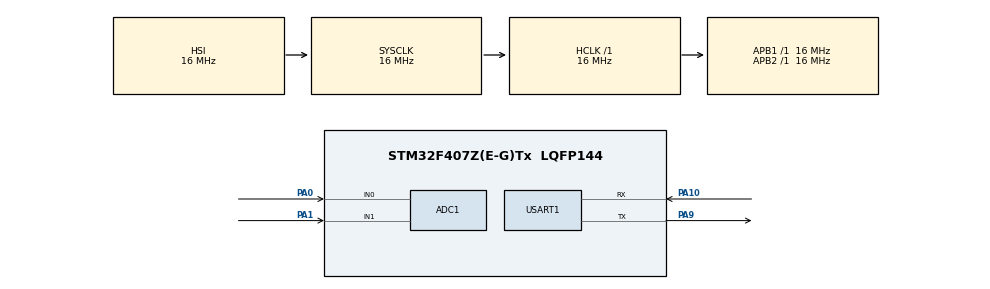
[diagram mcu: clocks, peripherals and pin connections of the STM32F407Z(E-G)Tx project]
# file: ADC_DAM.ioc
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ADC1.Channel-0\#ChannelRegularConversion=ADC_CHANNEL_0
ADC1.Channel-3\#ChannelRegularConversion=ADC_CHANNEL_1
ADC1.ContinuousConvMode=ENABLE
ADC1.DMAContinuousRequests=ENABLE
ADC1.InjNumberOfConversion=0
ADC1.NbrOfConversion=2
ADC1.NbrOfConversionFlag=1
ADC1.Rank-0\#ChannelRegularConversion=1
ADC1.Rank-3\#ChannelRegularConversion=2
ADC1.SamplingTime-0\#ChannelRegularConversion=ADC_SAMPLETIME_3CYCLES
ADC1.SamplingTime-3\#ChannelRegularConversion=ADC_SAMPLETIME_3CYCLES
ADC1.ScanConvMode=ENABLE
ADC1.master=1
Dma.ADC1.0.Direction=DMA_PERIPH_TO_MEMORY
Dma.ADC1.0.FIFOMode=DMA_FIFOMODE_DISABLE
Dma.ADC1.0.Instance=DMA2_Stream0
Dma.ADC1.0.MemDataAlignment=DMA_MDATAALIGN_WORD
Dma.ADC1.0.MemInc=DMA_MINC_ENABLE
Dma.ADC1.0.Mode=DMA_CIRCULAR
Dma.ADC1.0.PeriphDataAlignment=DMA_PDATAALIGN_WORD
Dma.ADC1.0.PeriphInc=DMA_PINC_DISABLE
Dma.ADC1.0.Priority=DMA_PRIORITY_LOW
Dma.Request0=ADC1
Mcu.Family=STM32F4
Mcu.Name=STM32F407Z(E-G)Tx
Mcu.Package=LQFP144
NVIC.DMA2_Stream0_IRQn=true\:0\:0\:false\:false\:true\:false\:true\:true
NVIC.PriorityGroup=NVIC_PRIORITYGROUP_4
PA0-WKUP.Signal=ADCx_IN0
PA1.Signal=ADCx_IN1
PA10.Mode=Asynchronous
PA10.Signal=USART1_RX
PA9.Mode=Asynchronous
PA9.Signal=USART1_TX
PC14-OSC32_IN.Mode=LSE-External-Oscillator
PC14-OSC32_IN.Signal=RCC_OSC32_IN
PC15-OSC32_OUT.Mode=LSE-External-Oscillator
PC15-OSC32_OUT.Signal=RCC_OSC32_OUT
PH0-OSC_IN.Mode=HSE-External-Oscillator
PH0-OSC_IN.Signal=RCC_OSC_IN
PH1-OSC_OUT.Mode=HSE-External-Oscillator
PH1-OSC_OUT.Signal=RCC_OSC_OUT
ProjectManager.HeapSize=0x200
ProjectManager.StackSize=0x400
ProjectManager.TargetToolchain=MDK-ARM V5.32
RCC.AHBFreq_Value=16000000
RCC.APB1Freq_Value=16000000
RCC.APB2Freq_Value=16000000
RCC.CortexFreq_Value=16000000
RCC.HSE_VALUE=25000000
RCC.HSI_VALUE=16000000
RCC.SYSCLKFreq_VALUE=16000000
RCC.VCOOutputFreq_Value=192000000
SH.ADCx_IN0.0=ADC1_IN0,IN0
SH.ADCx_IN1.0=ADC1_IN1,IN1
USART1.VirtualMode=VM_ASYNC
board=custom

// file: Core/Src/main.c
/* USER CODE BEGIN Header */
/**
  ******************************************************************************
  * @file           : main.c
  * @brief          : Main program body
  ******************************************************************************
  * @attention
  *
  * Copyright (c) 2024 STMicroelectronics.
  * All rights reserved.
  *
  * This software is licensed under terms that can be found in the LICENSE file
  * in the root directory of this software component.
  * If no LICENSE file comes with this software, it is provided AS-IS.
  *
  ******************************************************************************
  */
/* USER CODE END Header */
#include "main.h"
#include "adc.h"
#include "dma.h"
#include "usart.h"
#include "gpio.h"

/* USER CODE BEGIN Includes */
#include <stdio.h>
/* USER CODE END Includes */

/* USER CODE BEGIN PV */
int fputc(int ch,FILE *f)
{
    uint8_t temp[1]={ch};
    HAL_UART_Transmit(&huart1, temp, 1, 2);
	return ch;
}
/* USER CODE END PV */

void SystemClock_Config(void);

/* USER CODE BEGIN 0 */
uint32_t ADC_Value[100];
uint8_t i;
uint32_t ad1,ad2;
/* USER CODE END 0 */

int main(void)
{

  /* MCU Configuration--------------------------------------------------------*/

  /* Reset of all peripherals, Initializes the Flash interface and the Systick. */
  HAL_Init();

  /* Configure the system clock */
  SystemClock_Config();

  /* Initialize all configured peripherals */
  MX_GPIO_Init();
  MX_DMA_Init();
  MX_ADC1_Init();
  MX_USART1_UART_Init();
  /* USER CODE BEGIN 2 */
	HAL_ADC_Start_DMA(&hadc1, (uint32_t*)&ADC_Value, 100);
  //以 DMA 方式开启 ADC 装换。HAL_ADC_Start_DMA() 函数第二个参数为数据存储起始地址，第三个参数为 DMA 传输数据的长度。
/* USER CODE BEGIN 2 */
  /* USER CODE END 2 */

  /* Infinite loop */
  while (1)
  {

    /* USER CODE BEGIN 3 */
	HAL_Delay(5000);
	for(i = 0,ad1 =0,ad2=0; i < 100;){
      ad1 += ADC_Value[i++];
      ad2 += ADC_Value[i++];
    }
    ad1 /= 50;
    ad2 /= 50;
	for(i = 0; i < 100; i++){
		printf("%.5f\r\n,", (float)ADC_Value[i]);
	}
//		  for(int i = 0;i<100;i++){
//         printf("%.3f\r\n",ADC_Value[i]*3.3f/4096);
//      }
		ad1 = 0;
	  ad2 = 0;
  }
  /* USER CODE END 3 */
}

void SystemClock_Config(void)
{
  RCC_OscInitTypeDef RCC_OscInitStruct = {0};
  RCC_ClkInitTypeDef RCC_ClkInitStruct = {0};

  /** Configure the main internal regulator output voltage
  */
  __HAL_RCC_PWR_CLK_ENABLE();
  __HAL_PWR_VOLTAGESCALING_CONFIG(PWR_REGULATOR_VOLTAGE_SCALE1);

  /** Initializes the RCC Oscillators according to the specified parameters
  * in the RCC_OscInitTypeDef structure.
  */
  RCC_OscInitStruct.OscillatorType = RCC_OSCILLATORTYPE_HSI;
  RCC_OscInitStruct.HSIState = RCC_HSI_ON;
  RCC_OscInitStruct.HSICalibrationValue = RCC_HSICALIBRATION_DEFAULT;
  RCC_OscInitStruct.PLL.PLLState = RCC_PLL_NONE;
  if (HAL_RCC_OscConfig(&RCC_OscInitStruct) != HAL_OK)
  {
    Error_Handler();
  }

  /** Initializes the CPU, AHB and APB buses clocks
  */
  RCC_ClkInitStruct.ClockType = RCC_CLOCKTYPE_HCLK|RCC_CLOCKTYPE_SYSCLK
                              |RCC_CLOCKTYPE_PCLK1|RCC_CLOCKTYPE_PCLK2;
  RCC_ClkInitStruct.SYSCLKSource = RCC_SYSCLKSOURCE_HSI;
  RCC_ClkInitStruct.AHBCLKDivider = RCC_SYSCLK_DIV1;
  RCC_ClkInitStruct.APB1CLKDivider = RCC_HCLK_DIV1;
  RCC_ClkInitStruct.APB2CLKDivider = RCC_HCLK_DIV1;

  if (HAL_RCC_ClockConfig(&RCC_ClkInitStruct, FLASH_LATENCY_0) != HAL_OK)
  {
    Error_Handler();
  }
}

void Error_Handler(void)
{
  __disable_irq();
  while (1)
  {
  }
}
